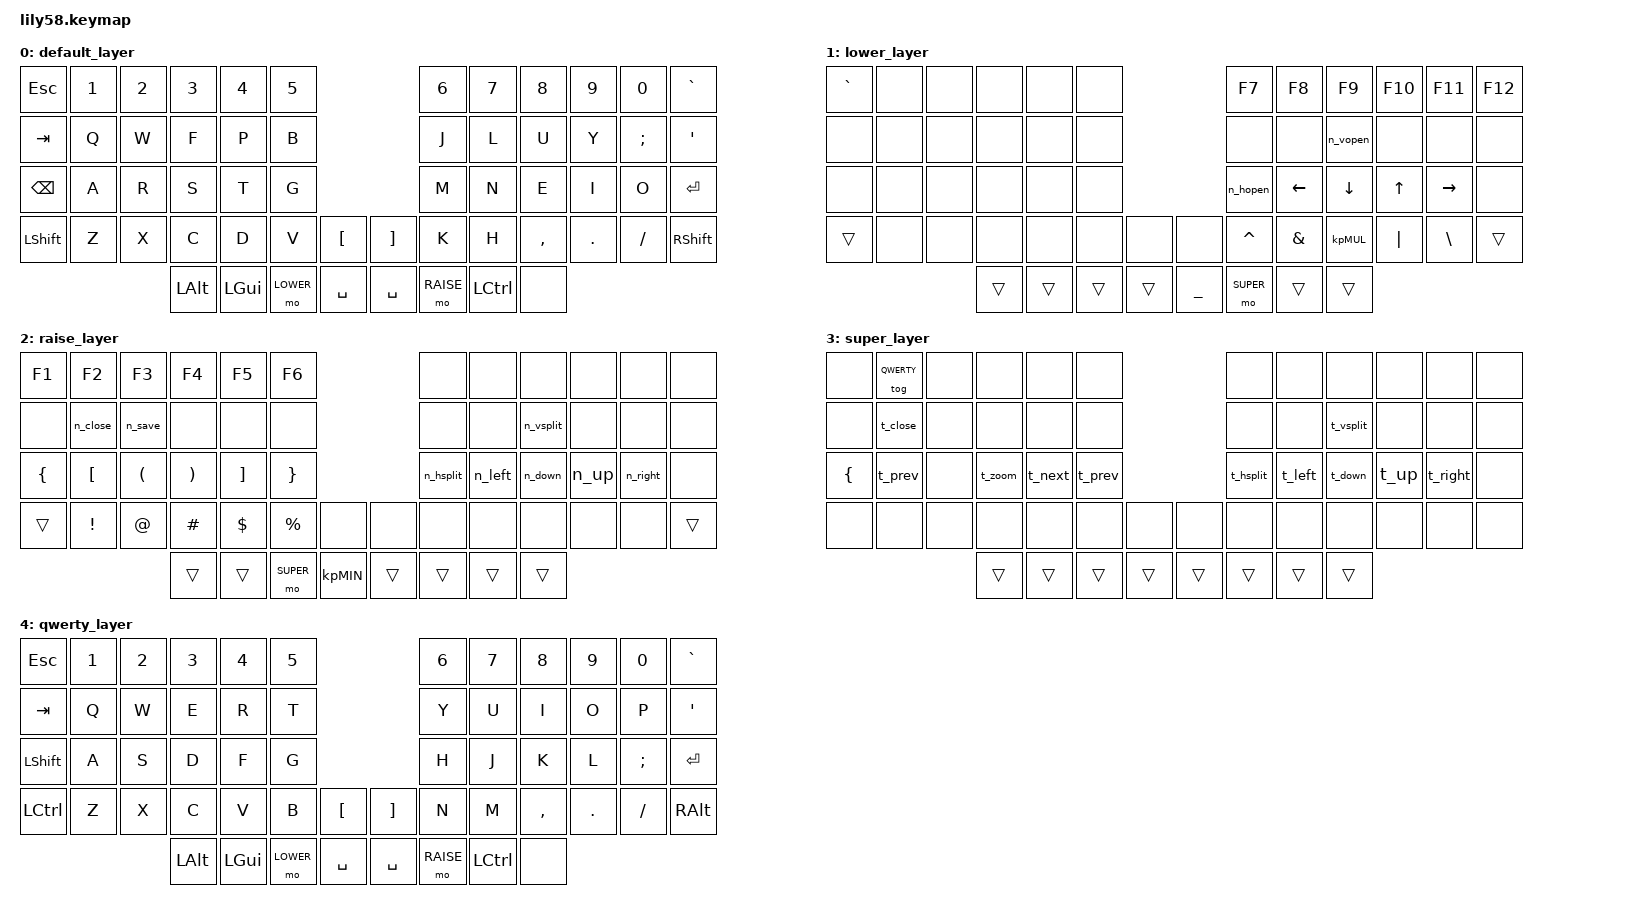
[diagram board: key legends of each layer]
/*
 * Copyright (c) 2020 The ZMK Contributors
 *
 * SPDX-License-Identifier: MIT
 */

#include <behaviors.dtsi>
#include <dt-bindings/zmk/keys.h>
#include <dt-bindings/zmk/bt.h>
#include <dt-bindings/zmk/ext_power.h>
/* Relative to build dir. Not sure if there's a better way */
#include <../../../../config/macro_bindings.dtsi>

/* Keypress aliases */
#define KP_MUL (KP_MULTIPLY)
#define KP_MIN (KP_MINUS)

/* Layer definitions */
#define BASE   0
#define LOWER  1
#define RAISE  2
#define SUPER  3
#define QWERTY 4

/ {
	keymap {
		compatible = "zmk,keymap";

		default_layer {
			bindings = <
//+---------|---------|---------|---------|---------|---------+                   +---------|---------|---------|---------|---------|---------+
    &kp ESC   &kp N1    &kp N2    &kp N3    &kp N4    &kp N5                        &kp N6    &kp N7    &kp N8    &kp N9    &kp N0   &kp GRAVE

//|---------|---------|---------|---------|---------|---------|                   |---------|---------|---------|---------|---------|---------|
    &kp TAB    &kp Q     &kp W     &kp F     &kp P     &kp B                         &kp J     &kp L     &kp U     &kp Y   &kp SEMI   &kp SQT

//|---------|---------|---------|---------|---------|---------|                   |---------|---------|---------|---------|---------|---------|
   &kp BSPC    &kp A     &kp R     &kp S     &kp T     &kp G                         &kp M     &kp N     &kp E     &kp I     &kp O    &kp RET

//|---------|---------|---------|---------|---------|---------|---------+---------|---------|---------|---------|---------|---------|---------|
   &kp LSHFT   &kp Z     &kp X     &kp C     &kp D     &kp V   &kp LBKT  &kp RBKT    &kp K     &kp H   &kp COMMA  &kp DOT  &kp FSLH  &kp RSHFT

//+---------|---------|---------|---------|---------|---------|---------|---------|---------|---------|---------|---------|---------|---------+
                                 &kp LALT  &kp LGUI  &mo LOWER &kp SPACE &kp SPACE &mo RAISE &kp LCTRL   &none

//                              +---------|---------|---------|---------+---------|---------|---------|---------+
			>;
		};

		lower_layer {
			bindings = <
//+---------|---------|---------|---------|---------|---------+                   +---------|---------|---------|---------|---------|---------+
   &kp GRAVE   &none     &none     &none     &none     &none                         &kp F7    &kp F8    &kp F9   &kp F10   &kp F11   &kp F12

//|---------|---------|---------|---------|---------|---------|                   |---------|---------|---------|---------|---------|---------|
     &none     &none     &none     &none     &none     &none                         &none     &none   &n_vopen    &none     &none     &none

//|---------|---------|---------|---------|---------|---------|                   |---------|---------|---------|---------|---------|---------|
     &none     &none     &none     &none     &none     &none                       &n_hopen  &kp LEFT  &kp DOWN   &kp UP   &kp RIGHT   &none

//|---------|---------|---------|---------|---------|---------|---------+---------|---------|---------|---------|---------|---------|---------|
    &trans     &none     &none     &none     &none     &none    &none     &none    &kp CARET &kp AMPS &kp KP_MUL &kp PIPE  &kp BSLH    &trans

//+---------|---------|---------|---------|---------|---------|---------|---------|---------|---------|---------|---------|---------|---------+
                                  &trans    &trans    &trans    &trans   &kp UNDER &mo SUPER  &trans    &trans

//                              +---------|---------|---------|---------+---------|---------|---------|---------+
			>;
		};

		raise_layer {
			bindings = <
//+---------|---------|---------|---------|---------|---------+                   +---------|---------|---------|---------|---------|---------+
    &kp F1    &kp F2    &kp F3    &kp F4    &kp F5    &kp F6                         &none     &none     &none     &none     &none     &none

//|---------|---------|---------|---------|---------|---------|                   |---------|---------|---------|---------|---------|---------|
     &none   &n_close   &n_save    &none     &none     &none                         &none     &none   &n_vsplit   &none     &none     &none

//|---------|---------|---------|---------|---------|---------|                   |---------|---------|---------|---------|---------|---------|
   &kp LBRC  &kp LBKT  &kp LPAR  &kp RPAR  &kp RBKT  &kp RBRC                      &n_hsplit  &n_left   &n_down    &n_up    &n_right   &none

//|---------|---------|---------|---------|---------|---------|---------+---------|---------|---------|---------|---------|---------|---------|
    &trans   &kp EXCL   &kp AT   &kp HASH &kp DOLLAR &kp PRCNT   &none     &none     &none     &none     &none     &none     &none    &trans

//+---------|---------|---------|---------|---------|---------|---------|---------|---------|---------|---------|---------|---------|---------+
                                  &trans    &trans   &mo SUPER &kp KP_MIN &trans    &trans    &trans    &trans

//                              +---------|---------|---------|---------+---------|---------|---------|---------+
			>;
		};

		super_layer {
			bindings = <
//+---------|---------|---------|---------|---------|---------+                   +---------|---------|---------|---------|---------|---------+
     &none  &tog QWERTY  &none     &none     &none     &none                         &none     &none     &none     &none     &none     &none

//|---------|---------|---------|---------|---------|---------|                   |---------|---------|---------|---------|---------|---------|
     &none   &t_close    &none     &none     &none     &none                         &none     &none   &t_vsplit   &none     &none     &none

//|---------|---------|---------|---------|---------|---------|                   |---------|---------|---------|---------|---------|---------|
   &kp LBRC   &t_prev    &none    &t_zoom   &t_next   &t_prev                      &t_hsplit  &t_left   &t_down    &t_up   &t_right    &none

//|---------|---------|---------|---------|---------|---------|---------+---------|---------|---------|---------|---------|---------|---------|
     &none     &none     &none     &none     &none     &none     &none     &none     &none     &none     &none     &none     &none     &none

//+---------|---------|---------|---------|---------|---------|---------|---------|---------|---------|---------|---------|---------|---------+
                                  &trans    &trans    &trans    &trans    &trans    &trans    &trans    &trans

//                              +---------|---------|---------|---------+---------|---------|---------|---------+
			>;
		};

		qwerty_layer {
			bindings = <
//+---------|---------|---------|---------|---------|---------+                   +---------|---------|---------|---------|---------|---------+
    &kp ESC   &kp N1    &kp N2    &kp N3    &kp N4    &kp N5                        &kp N6    &kp N7    &kp N8    &kp N9    &kp N0   &kp GRAVE

//|---------|---------|---------|---------|---------|---------|                   |---------|---------|---------|---------|---------|---------|
    &kp TAB    &kp Q     &kp W     &kp E     &kp R     &kp T                         &kp Y     &kp U     &kp I     &kp O     &kp P    &kp SQT

//|---------|---------|---------|---------|---------|---------|                   |---------|---------|---------|---------|---------|---------|
   &kp LSHFT   &kp A     &kp S     &kp D     &kp F     &kp G                         &kp H     &kp J     &kp K     &kp L   &kp SEMI   &kp RET

//|---------|---------|---------|---------|---------|---------|---------+---------|---------|---------|---------|---------|---------|---------|
   &kp LCTRL   &kp Z     &kp X     &kp C     &kp V     &kp B   &kp LBKT  &kp RBKT    &kp N     &kp M   &kp COMMA  &kp DOT  &kp FSLH  &kp RALT

//+---------|---------|---------|---------|---------|---------|---------|---------|---------|---------|---------|---------|---------|---------+
                                 &kp LALT  &kp LGUI  &mo LOWER &kp SPACE &kp SPACE &mo RAISE &kp LCTRL   &none

//                              +---------|---------|---------|---------+---------|---------|---------|---------+
                        >;
                };
	};
};


